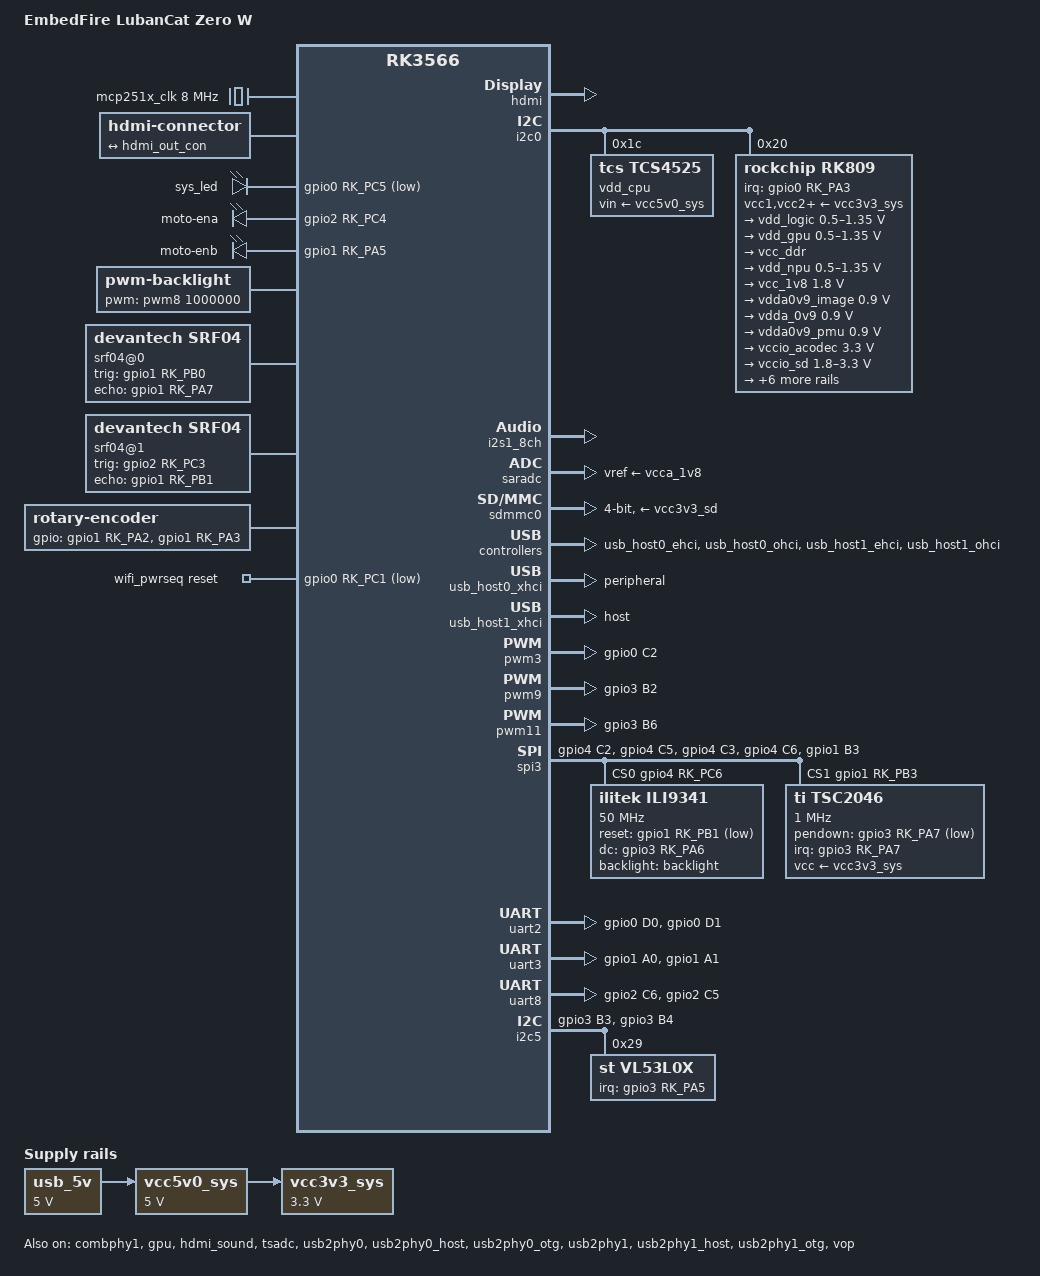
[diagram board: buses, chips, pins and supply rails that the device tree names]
// SPDX-License-Identifier: (GPL-2.0+ OR MIT)

/dts-v1/;
#include <dt-bindings/gpio/gpio.h>
#include <dt-bindings/pwm/pwm.h>
#include <dt-bindings/leds/common.h>
#include <dt-bindings/pinctrl/rockchip.h>
#include <dt-bindings/soc/rockchip,vop2.h>
#include "rk3566.dtsi"

/ {
	model = "EmbedFire LubanCat Zero W";
	compatible = "embedfire,lubancat-zero-w", "rockchip,rk3566";

	aliases {
		mmc0 = &sdmmc0;
		mmc1 = &sdhci;
		serial2 = &uart2;
		serial3 = &uart3;
		serial8 = &uart8;
	};

	chosen: chosen {
		stdout-path = "serial2:1500000n8";
	};

	mcp251x_clk: can-osc {
		compatible = "fixed-clock";
		#clock-cells = <0>;
		clock-frequency = <8000000>;
	};
	
	hdmi-con {
		compatible = "hdmi-connector";
		type = "a";

		port {
			hdmi_con_in: endpoint {
				remote-endpoint = <&hdmi_out_con>;
			};
		};
	};

	gpio-leds {
		compatible = "gpio-leds";

		sys_led: sys-led {
			label = "sys_led";
			linux,default-trigger = "heartbeat";
			default-state = "on";
			gpios = <&gpio0 RK_PC5 GPIO_ACTIVE_LOW>;
			pinctrl-names = "default";
			pinctrl-0 = <&sys_led_pin>;
		};

		moto-ena {
			label = "moto-ena";
			pinctrl-names = "default";
			pinctrl-0 = <&lpwm_pin>;
			gpios = <&gpio2 RK_PC4 GPIO_ACTIVE_HIGH>; // GPIO2_C4
			default-state = "on";
		};

		moto-enb {
			label = "moto-enb";
			pinctrl-names = "default";
			pinctrl-0 = <&rpwm_pin>;
			gpios = <&gpio1 RK_PA5 GPIO_ACTIVE_HIGH>; // GPIO1_A5
			default-state = "on";
		};
	};

	backlight: backlight {
        compatible = "pwm-backlight";
		pwms = <&pwm8 1000000 PWM_POLARITY_INVERTED>;
		brightness-levels = <0 30 40 50 60 70 100>;
		default-brightness-level = <6>;
        status = "okay";
    };

	srf04@0 {
		compatible = "devantech,srf04";
		pinctrl-names = "default";
		pinctrl-0 = <&srf04_pin_1>;
		trig-gpios = <&gpio1 RK_PB0 GPIO_ACTIVE_HIGH>; // GPIO1_B0
		echo-gpios = <&gpio1 RK_PA7 GPIO_ACTIVE_HIGH>; // GPIO1_A7
        status = "okay";
	};

	srf04@1 {
		compatible = "devantech,srf04";
		pinctrl-names = "default";
		pinctrl-0 = <&srf04_pin_2>;
		trig-gpios = <&gpio2 RK_PC3 GPIO_ACTIVE_HIGH>; // GPIO2_C3
		echo-gpios = <&gpio1 RK_PB1 GPIO_ACTIVE_HIGH>; // GPIO1_B1
        status = "okay";
	};

    rotary: rotary-encoder {
		compatible = "rotary-encoder";
		pinctrl-names = "default";
		pinctrl-0 = <&rotary_pin>;
		gpios = <&gpio1 RK_PA2 GPIO_ACTIVE_HIGH>, <&gpio1 RK_PA3 GPIO_ACTIVE_HIGH>; //GPIO1_PA2 GPIO1_PA3
		linux,axis = <0>; /* REL_X */
		rotary-encoder,encoding = "gray";
		rotary-encoder,relative-axis;
	};

	wifi_pwrseq: wifi-pwrseq {
		compatible = "mmc-pwrseq-simple";
		pinctrl-0 = <&wifi_enable_h>;
		pinctrl-names = "default";
		reset-gpios = <&gpio0 RK_PC1 GPIO_ACTIVE_LOW>;
		status = "okay";
	};

	usb_5v: usb-5v-regulator {
		compatible = "regulator-fixed";
		regulator-name = "usb_5v";
		regulator-always-on;
		regulator-boot-on;
		regulator-min-microvolt = <5000000>;
		regulator-max-microvolt = <5000000>;
	};

	vcc5v0_sys: vcc5v0-sys-regulator {
		compatible = "regulator-fixed";
		regulator-name = "vcc5v0_sys";
		regulator-always-on;
		regulator-boot-on;
		regulator-min-microvolt = <5000000>;
		regulator-max-microvolt = <5000000>;
		vin-supply = <&usb_5v>;
	};

	vcc3v3_sys: vcc3v3-sys-regulator {
		compatible = "regulator-fixed";
		regulator-name = "vcc3v3_sys";
		regulator-always-on;
		regulator-boot-on;
		regulator-min-microvolt = <3300000>;
		regulator-max-microvolt = <3300000>;
		vin-supply = <&vcc5v0_sys>;
	};
};

&combphy1 {
	status = "okay";
};

&cpu0 {
	cpu-supply = <&vdd_cpu>;
};

&cpu1 {
	cpu-supply = <&vdd_cpu>;
};

&cpu2 {
	cpu-supply = <&vdd_cpu>;
};

&cpu3 {
	cpu-supply = <&vdd_cpu>;
};

&gpu {
	mali-supply = <&vdd_gpu>;
	status = "okay";
};

&hdmi {
	avdd-0v9-supply = <&vdda0v9_image>;
	avdd-1v8-supply = <&vcca1v8_image>;
	status = "okay";
};

&hdmi_in {
	hdmi_in_vp0: endpoint {
		remote-endpoint = <&vp0_out_hdmi>;
	};
};

&hdmi_out {
	hdmi_out_con: endpoint {
		remote-endpoint = <&hdmi_con_in>;
	};
};

&hdmi_sound {
	status = "okay";
};

&i2c0 {
	status = "okay";

	vdd_cpu: regulator@1c {
		compatible = "tcs,tcs4525";
		reg = <0x1c>;
		fcs,suspend-voltage-selector = <1>;
		regulator-name = "vdd_cpu";
		regulator-always-on;
		regulator-boot-on;
		regulator-min-microvolt = <800000>;
		regulator-max-microvolt = <1150000>;
		regulator-ramp-delay = <2300>;
		vin-supply = <&vcc5v0_sys>;

		regulator-state-mem {
			regulator-off-in-suspend;
		};
	};

	rk809: pmic@20 {
		compatible = "rockchip,rk809";
		reg = <0x20>;
		interrupt-parent = <&gpio0>;
		interrupts = <RK_PA3 IRQ_TYPE_LEVEL_LOW>;
		clock-output-names = "rk808-clkout1", "rk808-clkout2";

		pinctrl-names = "default";
		pinctrl-0 = <&pmic_int>;
		rockchip,system-power-controller;
		wakeup-source;
		#clock-cells = <1>;

		vcc1-supply = <&vcc3v3_sys>;
		vcc2-supply = <&vcc3v3_sys>;
		vcc3-supply = <&vcc3v3_sys>;
		vcc4-supply = <&vcc3v3_sys>;
		vcc5-supply = <&vcc3v3_sys>;
		vcc6-supply = <&vcc3v3_sys>;
		vcc7-supply = <&vcc3v3_sys>;
		vcc8-supply = <&vcc3v3_sys>;
		vcc9-supply = <&vcc3v3_sys>;

		regulators {
			vdd_logic: DCDC_REG1 {
				regulator-name = "vdd_logic";
				regulator-always-on;
				regulator-boot-on;
				regulator-min-microvolt = <500000>;
				regulator-max-microvolt = <1350000>;
				regulator-init-microvolt = <900000>;
				regulator-ramp-delay = <6001>;
				regulator-initial-mode = <0x2>;

				regulator-state-mem {
					regulator-off-in-suspend;
				};
			};

			vdd_gpu: DCDC_REG2 {
				regulator-name = "vdd_gpu";
				regulator-always-on;
				regulator-boot-on;
				regulator-min-microvolt = <500000>;
				regulator-max-microvolt = <1350000>;
				regulator-init-microvolt = <900000>;
				regulator-ramp-delay = <6001>;
				regulator-initial-mode = <0x2>;

				regulator-state-mem {
					regulator-off-in-suspend;
				};
			};

			vcc_ddr: DCDC_REG3 {
				regulator-name = "vcc_ddr";
				regulator-always-on;
				regulator-boot-on;
				regulator-initial-mode = <0x2>;

				regulator-state-mem {
					regulator-on-in-suspend;
				};
			};

			vdd_npu: DCDC_REG4 {
				regulator-name = "vdd_npu";
				regulator-always-on;
				regulator-boot-on;
				regulator-min-microvolt = <500000>;
				regulator-max-microvolt = <1350000>;
				regulator-init-microvolt = <900000>;
				regulator-ramp-delay = <6001>;
				regulator-initial-mode = <0x2>;

				regulator-state-mem {
					regulator-off-in-suspend;
				};
			};

			vcc_1v8: DCDC_REG5 {
				regulator-name = "vcc_1v8";
				regulator-always-on;
				regulator-boot-on;
				regulator-min-microvolt = <1800000>;
				regulator-max-microvolt = <1800000>;

				regulator-state-mem {
					regulator-off-in-suspend;
				};
			};

			vdda0v9_image: LDO_REG1 {
				regulator-name = "vdda0v9_image";
				regulator-boot-on;
				regulator-always-on;
				regulator-min-microvolt = <900000>;
				regulator-max-microvolt = <900000>;

				regulator-state-mem {
					regulator-off-in-suspend;
				};
			};

			vdda_0v9: LDO_REG2 {
				regulator-name = "vdda_0v9";
				regulator-always-on;
				regulator-boot-on;
				regulator-min-microvolt = <900000>;
				regulator-max-microvolt = <900000>;

				regulator-state-mem {
					regulator-off-in-suspend;
				};
			};

			vdda0v9_pmu: LDO_REG3 {
				regulator-name = "vdda0v9_pmu";
				regulator-always-on;
				regulator-boot-on;
				regulator-min-microvolt = <900000>;
				regulator-max-microvolt = <900000>;

				regulator-state-mem {
					regulator-on-in-suspend;
					regulator-suspend-microvolt = <900000>;
				};
			};

			vccio_acodec: LDO_REG4 {
				regulator-name = "vccio_acodec";
				regulator-always-on;
				regulator-boot-on;
				regulator-min-microvolt = <3300000>;
				regulator-max-microvolt = <3300000>;

				regulator-state-mem {
					regulator-off-in-suspend;
				};
			};

			vccio_sd: LDO_REG5 {
				regulator-name = "vccio_sd";
				regulator-always-on;
				regulator-boot-on;
				regulator-min-microvolt = <1800000>;
				regulator-max-microvolt = <3300000>;

				regulator-state-mem {
					regulator-off-in-suspend;
				};
			};

			vcc3v3_pmu: LDO_REG6 {
				regulator-name = "vcc3v3_pmu";
				regulator-always-on;
				regulator-boot-on;
				regulator-min-microvolt = <3300000>;
				regulator-max-microvolt = <3300000>;

				regulator-state-mem {
					regulator-on-in-suspend;
					regulator-suspend-microvolt = <3300000>;
				};
			};

			vcca_1v8: LDO_REG7 {
				regulator-name = "vcca_1v8";
				regulator-always-on;
				regulator-boot-on;
				regulator-min-microvolt = <1800000>;
				regulator-max-microvolt = <1800000>;

				regulator-state-mem {
					regulator-off-in-suspend;
				};
			};

			vcca1v8_pmu: LDO_REG8 {
				regulator-name = "vcca1v8_pmu";
				regulator-always-on;
				regulator-boot-on;
				regulator-min-microvolt = <1800000>;
				regulator-max-microvolt = <1800000>;

				regulator-state-mem {
					regulator-on-in-suspend;
					regulator-suspend-microvolt = <1800000>;
				};
			};

			vcca1v8_image: LDO_REG9 {
				regulator-name = "vcca1v8_image";
				regulator-always-on;
				regulator-boot-on;
				regulator-min-microvolt = <1800000>;
				regulator-max-microvolt = <1800000>;

				regulator-state-mem {
					regulator-off-in-suspend;
				};
			};

			vcc_3v3: SWITCH_REG1 {
				regulator-name = "vcc_3v3";
				regulator-always-on;
				regulator-boot-on;

				regulator-state-mem {
					regulator-off-in-suspend;
				};
			};

			vcc3v3_sd: SWITCH_REG2 {
				regulator-name = "vcc3v3_sd";
				regulator-always-on;
				regulator-boot-on;

				regulator-state-mem {
					regulator-off-in-suspend;
				};
			};
		};
	};
};

&i2s1_8ch {
	rockchip,trcm-sync-tx-only;
	status = "okay";
};

&pinctrl {
	leds {
		sys_led_pin: sys-status-led-pin {
			rockchip,pins = <0 RK_PC7 RK_FUNC_GPIO &pcfg_pull_none>;
		};
	};

	usb {
		vcc5v0_usb20_host_en: vcc5v0-usb20-host-en {
			rockchip,pins = <2 RK_PB6 RK_FUNC_GPIO &pcfg_pull_none>;
		};

		vcc5v0_usb30_host_en: vcc5v0-usb30-host-en {
			rockchip,pins = <2 RK_PB5 RK_FUNC_GPIO &pcfg_pull_none>;
		};
	};

	pmic {
		pmic_int: pmic_int {
			rockchip,pins =
				<0 RK_PA3 RK_FUNC_GPIO &pcfg_pull_up>;
		};
	};

	wifi-pwrseq {
		wifi_enable_h: wifi-enable-h {
			rockchip,pins = <0 RK_PC1 RK_FUNC_GPIO &pcfg_pull_none>;
		};
	};

	lpwm {
		lpwm_pin: lpwm-pin {
			rockchip,pins = <2 RK_PC4 RK_FUNC_GPIO &pcfg_pull_none>;
		};
	};

	rpwm {
		rpwm_pin: rpwm-pin {
			rockchip,pins = <1 RK_PA5 RK_FUNC_GPIO &pcfg_pull_none>;
		};
	};

	srf04 {
		srf04_pin_1: srf041-pins {
			rockchip,pins =
			<1 RK_PA7 RK_FUNC_GPIO &pcfg_pull_none>,
			<1 RK_PB0 RK_FUNC_GPIO &pcfg_pull_none>;
		};

		srf04_pin_2: srf042-pins {
			rockchip,pins =
			<2 RK_PC3 RK_FUNC_GPIO &pcfg_pull_none>,
			<1 RK_PB1 RK_FUNC_GPIO &pcfg_pull_none>;
		};
	};

	rotary {
		rotary_pin: rotary-pins {
			rockchip,pins =
			<1 RK_PA2 RK_FUNC_GPIO &pcfg_pull_none>,
			<1 RK_PA3 RK_FUNC_GPIO &pcfg_pull_none>;
		};
	};

	pwm3 {
		pwm3_pins: pwm3-pins {
			rockchip,pins =
				<0 RK_PC2 1 &pcfg_pull_none>;
		};
	};

	pwm8 {
		pwm8m0_pins: pwm8m0-pins {
			rockchip,pins =
				<3 RK_PB1 5 &pcfg_pull_none>;
		};
	};

	pwm9 {
		pwm9m0_pins: pwm9m0-pins {
			rockchip,pins =
				<3 RK_PB2 5 &pcfg_pull_none>;
		};
	};

	pwm11 {
		pwm11m0_pins: pwm11m0-pins {
			rockchip,pins =
				<3 RK_PB6 5 &pcfg_pull_none>;
		};
	};

	spi3 {
		spi3m1_pins: spi3m1-pins {
			rockchip,pins =
				/* spi3_clkm1 */
				<4 RK_PC2 2 &pcfg_pull_none>,
				/* spi3_misom1 */
				<4 RK_PC5 2 &pcfg_pull_none>,
				/* spi3_mosim1 */
				<4 RK_PC3 2 &pcfg_pull_none>;
		};

		spi3_pins_cs: spi3cs-pins {
			rockchip,pins =
			<4 RK_PC6 RK_FUNC_GPIO &pcfg_pull_none>,
			<1 RK_PB3 RK_FUNC_GPIO &pcfg_pull_none>;
		};
	};

	uart2 {
		/omit-if-no-ref/
		uart2m0_xfer: uart2m0-xfer {
			rockchip,pins =
				/* uart2_rxm0 */
				<0 RK_PD0 1 &pcfg_pull_up>,
				/* uart2_txm0 */
				<0 RK_PD1 1 &pcfg_pull_up>;
		};
	};

	uart3 {
		uart3m0_xfer: uart3m0-xfer {
			rockchip,pins =
				/* uart3_rxm0 */
				<1 RK_PA0 2 &pcfg_pull_up>,
				/* uart3_txm0 */
				<1 RK_PA1 2 &pcfg_pull_up>;
		};
	};

	uart8 {
		uart8m0_xfer: uart8m0-xfer {
			rockchip,pins =
				/* uart8_rxm0 */
				<2 RK_PC6 2 &pcfg_pull_up>,
				/* uart8_txm0 */
				<2 RK_PC5 3 &pcfg_pull_up>;
		};
	};

	i2c5 {
		i2c5m0_xfer: i2c5m0-xfer {
			rockchip,pins =
				/* i2c5_sclm0 */
				<3 RK_PB3 4 &pcfg_pull_none_smt>,
				/* i2c5_sdam0 */
				<3 RK_PB4 4 &pcfg_pull_none_smt>;
		};
	};

	t_irq {
		t_irq: t_irq {
			rockchip,pins =
				<3 RK_PA7 RK_FUNC_GPIO &pcfg_pull_none>;
		};
	};

	can_pin_irq {
		can0_int: can0-int {
			rockchip,pins =
				<3 RK_PA7 RK_FUNC_GPIO &pcfg_pull_none>;
		};
	};
};

&pmu_io_domains {
    status = "okay";
    pmuio2-supply = <&vcc3v3_pmu>;
    vccio1-supply = <&vccio_acodec>;
    vccio3-supply = <&vccio_sd>;
    vccio4-supply = <&vcc_3v3>;
    vccio5-supply = <&vcc_3v3>;
    vccio6-supply = <&vcc_1v8>;
    vccio7-supply = <&vcc_3v3>;
};

&saradc {
	vref-supply = <&vcca_1v8>;
	status = "okay";
};

&tsadc {
	rockchip,hw-tshut-mode = <1>;
	rockchip,hw-tshut-polarity = <0>;
	status = "okay";
};

&sdmmc0 {
    max-frequency = <150000000>;
    supports-sd;
    bus-width = <4>;
    cap-mmc-highspeed;
    cap-sd-highspeed;
    disable-wp;
    sd-uhs-sdr104;
    vmmc-supply = <&vcc3v3_sd>;
    vqmmc-supply = <&vccio_sd>;
    pinctrl-names = "default";
    pinctrl-0 = <&sdmmc0_bus4 &sdmmc0_clk &sdmmc0_cmd &sdmmc0_det>;
    status = "okay";
};

/* USB OTG/USB Host_1 USB 2.0 Comb */
&usb2phy0 {
	status = "okay";
};

&usb2phy0_host {
	phy-supply = <&usb_5v>;
	status = "okay";
};

&usb2phy0_otg {
	phy-supply = <&usb_5v>;
	status = "okay";
};

&usb_host0_ehci {
	status = "okay";
};

&usb_host0_ohci {
	status = "okay";
};

&usb_host0_xhci {
	dr_mode = "peripheral";
	status = "okay";
};

&usb_host1_xhci {
	dr_mode = "host";
	status = "okay";
};

/* USB Host_2/USB Host_3 USB 2.0 Comb */
&usb2phy1 {
	status = "okay";
};

&usb2phy1_host {
	phy-supply = <&usb_5v>;
	status = "okay";
};

&usb2phy1_otg {
	phy-supply = <&usb_5v>;
	status = "okay";
};

&usb_host1_ehci {
	status = "okay";
};

&usb_host1_ohci {
	status = "okay";
};

&vop {
	assigned-clocks = <&cru DCLK_VOP0>, <&cru DCLK_VOP1>;
	assigned-clock-parents = <&pmucru PLL_HPLL>, <&cru PLL_VPLL>;
	status = "okay";
};

&vop_mmu {
	status = "okay";
};

&vp0 {
	vp0_out_hdmi: endpoint@ROCKCHIP_VOP2_EP_HDMI0 {
		reg = <ROCKCHIP_VOP2_EP_HDMI0>;
		remote-endpoint = <&hdmi_in_vp0>;
	};
};

&pwm3 {
	pinctrl-names = "default";
	pinctrl-0 = <&pwm3_pins>;
	status = "okay";
};

&pwm8 {
	pinctrl-names = "default";
	pinctrl-0 = <&pwm8m0_pins>;
	status = "disabled";
};

&pwm9 {
	pinctrl-names = "default";
	pinctrl-0 = <&pwm9m0_pins>;
	status = "okay";
};

&pwm11 {
	pinctrl-names = "default";
	pinctrl-0 = <&pwm11m0_pins>;
	status = "okay";
};

&spi3 {
	pinctrl-names = "default";
	pinctrl-0 = <&spi3m1_pins &spi3_pins_cs>;
	spi-num-chipselects = <2>;
	cs-gpios = <&gpio4 RK_PC6 GPIO_ACTIVE_HIGH>, <&gpio1 RK_PB3 GPIO_ACTIVE_HIGH>;
	status = "okay";

	mcp2515@0 {
		compatible = "microchip,mcp2515";
		spi-max-frequency = <5000000>;
		reg = <0>;
		clocks = <&mcp251x_clk>;
		vdd-supply = <&vcc3v3_sys>;
		xceiver-supply = <&vcc3v3_sys>;
		pinctrl-names = "default";
		pinctrl-0 = <&can0_int>;
		interrupt-parent = <&gpio3>;
		interrupts = <RK_PA7 IRQ_TYPE_LEVEL_LOW>; // GPIO3_A7
		status = "disabled";
	};

	ili9341@0 {
		compatible = "ilitek,ili9341";
		reg = <0>;
		status = "okay";
		spi-max-frequency = <50000000>;
		rotate = <90>;
		bgr;
		fps = <30>;
		buswidth = <8>;
		reset-gpios = <&gpio1 RK_PB1 GPIO_ACTIVE_LOW>; 	//GPIO1_B1
		dc-gpios = <&gpio3 RK_PA6 GPIO_ACTIVE_HIGH>;	//GPIO3_A6
		debug = <0>;
		backlight = <&backlight>;
	};

	tsc2046@1 {
		reg = <1>;	// CS1
		status = "okay";
		compatible = "ti,tsc2046";
		pinctrl-names = "default";
		pinctrl-0 = <&t_irq>;
		interrupt-parent = <&gpio3>;
		interrupts = <RK_PA7 IRQ_TYPE_LEVEL_LOW>; // GPIO3_A7
		spi-max-frequency = <1000000>;
		pendown-gpio = <&gpio3 RK_PA7 GPIO_ACTIVE_LOW>; // GPIO3_A7
		vcc-supply = <&vcc3v3_sys>;

		ti,x-min = /bits/ 16 <0>;
		ti,x-max = /bits/ 16 <320>;
		ti,y-min = /bits/ 16 <0>;
		ti,y-max = /bits/ 16 <240>;
		ti,x-plate-ohms = /bits/ 16 <40>;
		ti,pressure-max = /bits/ 16 <255>;

		wakeup-source;
	};
};

&uart2 {
	pinctrl-names = "default";
	pinctrl-0 = <&uart2m0_xfer>;
	status = "okay";
};

&uart3 {
	pinctrl-names = "default";
	pinctrl-0 = <&uart3m0_xfer>;
	status = "okay";
};

&uart8 {
	pinctrl-names = "default";
	pinctrl-0 = <&uart8m0_xfer>;
	status = "okay";
};

&i2c5 {
	pinctrl-names = "default";
	pinctrl-0 = <&i2c5m0_xfer>;
	status = "okay";

	mpu6050@68 {
		compatible = "invensense,mpu6050";
		reg = <0x68>;
		status = "disabled";
		interrupt-parent = <&gpio1>;
		interrupts = <RK_PA4 IRQ_TYPE_EDGE_RISING>; // GPIO1_A4
		orientation = <0xff 0 0 0 1 0 0 0 0xff>;
	};

    vl53l0x@29 {
		compatible = "st,vl53l0x";
		reg = <0x29>;
		interrupt-parent = <&gpio3>;
		interrupts = <RK_PA5 IRQ_TYPE_EDGE_FALLING>; //GPIO3_A5
		status = "okay";
	};
};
